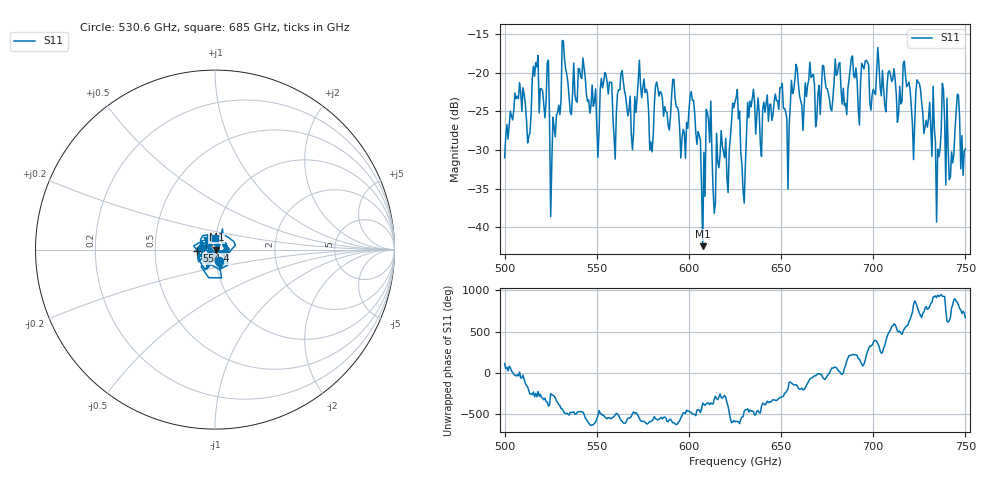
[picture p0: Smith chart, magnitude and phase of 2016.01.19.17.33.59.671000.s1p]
!Created with skrf (http://scikit-rf.org).
# GHz S RI R 50.0
!freq ReS11 ImS11
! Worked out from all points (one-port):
!   401 points, 500 GHz to 750 GHz, reference 50 ohm
!   lowest |S11| = -42.5 dB at 607.5 GHz (marker M1), VSWR 1.02, Z = 50.8 - j0.0708 ohm
!   |S11| at or under -10 dB: start of sweep to end of sweep
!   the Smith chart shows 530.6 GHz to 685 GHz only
!   S11 on the Smith chart (normalised r, x): 530.6 GHz: 1.03, -0.13; 554.4 GHz: 0.82, -0.01; 685 GHz: 0.99, +0.13
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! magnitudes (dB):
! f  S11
! 500 GHz  -31.0
! 506.9 GHz  -23.0
! 513.1 GHz  -28.2
! 516.9 GHz  -18.7
! 526.2 GHz  -25.8
! 530.6 GHz  -23.6
! 531.2 GHz  -15.8
! 550 GHz  -26.9
! 554.4 GHz  -20.0
! 560 GHz  -31.2
! 562.5 GHz  -22.2
! 579.4 GHz  -29.0
! 583.1 GHz  -22.0
! 593.8 GHz  -24.4
! 601.9 GHz  -23.6
! 607.5 GHz  -42.5
! 610.6 GHz  -26.1
! 614.4 GHz  -36.9
! 625 GHz  -23.8
! 629.4 GHz  -35.3
! 634.4 GHz  -23.3
! 656.2 GHz  -22.7
! 685 GHz  -24.0
! 687.5 GHz  -19.4
! 718.8 GHz  -21.6
! 735 GHz  -29.9
! 745.6 GHz  -22.8
! 750 GHz  -29.9
